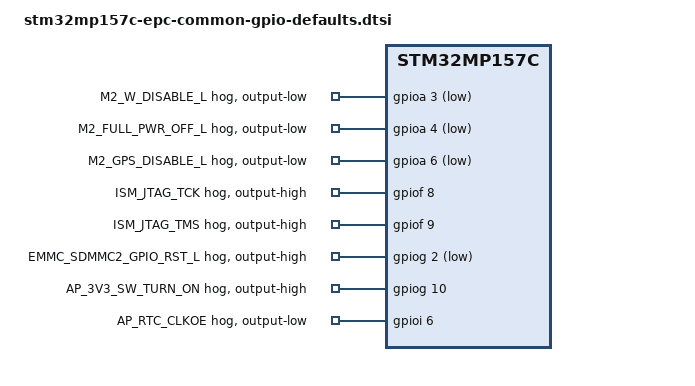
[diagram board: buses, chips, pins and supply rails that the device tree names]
#if 0
/ {
    soc {
        pinctrl: pin-controller@50002000 {
            smcu0-gpios =
              <&gpiof 14 0>, /* SMCU0 reset */
              <&gpiok 0 0>; /* SMCU0 boot */

            gyro-gpios =
              <&gpiok 4 0>; /* ACC_GYR_AP_GPIO_INT1 */

            3v3-gpios =
              <&gpioj 12 0>, /* AP_3V3_SW_PWRGD */
              <&gpiog 10 0>; /* AP_3V3_SW_TURN_ON */

            smcu0-gpios =
              <&gpiok 0 0>, /* BOOT0 */
              <&gpiof 14 0>, /* RST_L */
              <&gpioj 10 0>, /* SWCLK */
              <&gpioj 11 0>; /* SWDIO */

            smcu1-gpios =
              <&gpiok 2 0>, /* BOOT0 */
              <&gpiof 15 0>, /* RST_L */
              <&gpioi 12 0>, /* SWCLK */
              <&gpioi 13 0>; /* SWDIO */

            hwrev_gpios: hwrev_gpios =
              <&gpiod 10 0>, /* HW_REV0 */
              <&gpiod 11 0>, /* HW_REV1 */
              <&gpiod 13 0>, /* HW_REV2 */
              <&gpiod 14 0>, /* HW_REV3 */
              <&gpioe 12 0>, /* HW_REV4 */
              <&gpioe 13 0>, /* HW_REV5 */
              <&gpioe 14 0>, /* HW_REV6 */
              <&gpioe 15 0>; /* HW_REV7 */

            ism-gpios =
              <&gpiof 7 0>, /* BOOTLOAD_L */
              <&gpiof 8 0>, /* JTAG_TCK */
              <&gpiof 9 0>, /* JTAG_TMS */
              <&gpiof 6 0>; /* RESET_L */

            test-gpios =
              <&gpioc 2 0>, /* TEST_MODE0 */
              <&gpioc 3 0>; /* TEST_MODE1 */

            m2-gpios =
              <&gpioa 4 0>, /* FULL_PWR_OFF_L */
              <&gpioa 6 0>, /* GPS_DISABLE_L */
              <&gpioa 3 0>, /* W_DISABLE_L */
              <&gpioa 5 0>; /* RESET_L */

            rst-gpios =
              <&gpioi 8 0>, /* ETH1_RESET_L */
              <&gpiof 11 0>, /* USB_HUB_RESET_L */
              <&gpiog 2 0>; /* EMMC_SDMMC2_GPIO_RST_L */

            cel-gpios =
              <&gpioi 15 0>, /* BLE_EN */
              <&gpioi 14 0>, /* WIFI_EN */
              <&gpioj 15 0>, /* WIFI_WLAN_RFKILL_L */
              <&gpioi 7 0>; /* BT_WAKEHOST_OD */

            pmic-gpios =
              <&gpioj 13 0>, /* MR_L */
              <&gpioj 14 0>, /* PONKEY_L */
              <&gpioa 0 0>; /* WKUP_INT_L */

            rtc-gpios =
              <&gpioi 0 0>, /* CE_SPI2_NSS */
              <&gpioi 6 0>, /* CLKOE */
              <&gpioc 13 0>; /* INT_L */

            general-gpios =
              <&gpioh 15 0>, /* FD_CAN1_MODE */
              <&gpiob 1 0>, /* LED_GRN_STATUS1 */
              <&gpiof 3 0>; /* USD_AP_SLOT_DET_L */
        };
    };
};
#endif

/*-------------------------------------------------*/

&gpioa {
    M2_W_DISABLE_L {
        gpios = <3 GPIO_ACTIVE_LOW>;
        gpio-hog;
        bias-disable;
        drive-push-pull;
        output-low;
    };

    M2_FULL_PWR_OFF_L {
        gpios = <4 GPIO_ACTIVE_LOW>;
        gpio-hog;
        bias-disable;
        drive-push-pull;
        output-low;
    };

    AP_M2_RESET_L {
        gpios = <5 GPIO_ACTIVE_LOW>;
        bias-disable;
        drive-open-drain;
        output-low;
    };

    M2_GPS_DISABLE_L {
        gpios = <6 GPIO_ACTIVE_LOW>;
        gpio-hog;
        bias-disable;
        drive-push-pull;
        output-low;
    };
};

&gpiof {
    ISM_RESET_L {
        gpios = <6 GPIO_ACTIVE_LOW>;
        drive-open-drain;
        bias-disable;
    };

    ISM_BOOTLOAD_L {
        gpios = <7 GPIO_ACTIVE_LOW>;
        drive-open-drain;
        bias-pull-up;
    };

    ISM_JTAG_TCK {
        gpios = <8 GPIO_ACTIVE_HIGH>;
        gpio-hog;
        bias-pull-up;
        output-high;
    };

    ISM_JTAG_TMS {
        gpios = <9 GPIO_ACTIVE_HIGH>;
        gpio-hog;
        bias-pull-up;
        output-high;
    };

    USB_HUB_RESET_L {
        gpios = <11 GPIO_ACTIVE_LOW>;
        drive-push-pull;
        output-high;
        bias-disable;
    };

    AP_SMCU0_RESET_L {
        gpios = <14 GPIO_ACTIVE_LOW>;
        drive-open-drain;
        output-low;
        bias-disable;
    };

    AP_SMCU1_RESET_L {
        gpios = <15 GPIO_ACTIVE_LOW>;
        drive-open-drain;
        output-low;
        bias-disable;
    };
};

&gpiog {
    EMMC_SDMMC2_GPIO_RST_L {
        gpios = <2 GPIO_ACTIVE_LOW>;
        gpio-hog;
        drive-open-drain;
        output-high;
        bias-disable;
    };

    AP_3V3_SW_TURN_ON {
        gpios = <10 GPIO_ACTIVE_HIGH>;
        gpio-hog;
        drive-push-pull;
        output-high;
        bias-disable;
    };
};

&gpioh {
    FD_CAN1_MODE{
        gpios = <15 GPIO_ACTIVE_HIGH>;
        drive-push-pull;
        output-low;
        bias-disable;
    };
};

&gpioi {
    AP_WIFI_EN {
        gpios = <4 GPIO_ACTIVE_HIGH>;
        drive-push-pull;
        output-high;
        bias-disable;
    };

    AP_BLE_EN {
        gpios = <5 GPIO_ACTIVE_HIGH>;
        drive-push-pull;
        output-high;
        bias-disable;
    };

    AP_RTC_CLKOE {
        gpios = <6 GPIO_ACTIVE_HIGH>;
        gpio-hog;
        drive-push-pull;
        output-low;
        bias-disable;
    };

// TODO: fix with output-* setting
#if 0
    BT_WAKEHOST_OD {
        gpios = <7 GPIO_ACTIVE_LOW>;
        gpio-hog;
        bias-disable;
    };

    AP_SMCU1_SWCLK {
        gpios = <12 GPIO_ACTIVE_HIGH>;
        gpio-hog;
        bias-pull-up;
    };

    AP_SMCU1_SWDIO {
        gpios = <13 GPIO_ACTIVE_HIGH>;
        gpio-hog;
        bias-pull-up;
    };
#endif
};

&gpioj {
    AP_3V3_SW_PWRGD {
        gpios = <12 GPIO_ACTIVE_HIGH>;
        bias-disable;
    };

// TODO: fix with output-* setting
#if 0
    AP_SMCU0_SWCLK {
        gpios = <10 GPIO_ACTIVE_HIGH>;
        gpio-hog;
        bias-pull-up;
    };

    AP_SMCU0_SWDIO {
        gpios = <11 GPIO_ACTIVE_HIGH>;
        gpio-hog;
        bias-pull-up;
    };
#endif

    AP_WIFI_WLAN_RFKILL_L {
        gpios = <15 GPIO_ACTIVE_LOW>;
        drive-push-pull;
        output-high;
        bias-disable;
    };
};

&gpiok {
    AP_SMCU0_BOOT0 {
        gpios = <0 GPIO_ACTIVE_HIGH>;
        drive-push-pull;
        output-low;
        bias-disable;
    };

    AP_SMCU1_BOOT0 {
        gpios = <2 GPIO_ACTIVE_HIGH>;
        drive-push-pull;
        output-low;
        bias-disable;
    };
};
